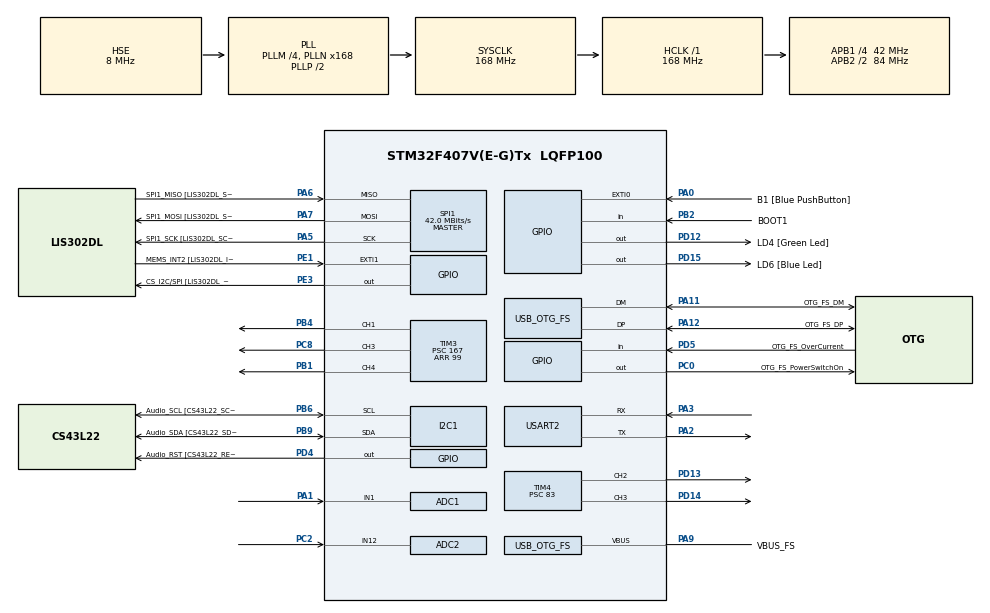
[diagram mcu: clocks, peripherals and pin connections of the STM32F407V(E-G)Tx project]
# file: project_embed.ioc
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ADC1.Channel-0\#ChannelRegularConversion=ADC_CHANNEL_1
ADC1.NbrOfConversionFlag=1
ADC1.Rank-0\#ChannelRegularConversion=1
ADC1.SamplingTime-0\#ChannelRegularConversion=ADC_SAMPLETIME_3CYCLES
ADC1.master=1
ADC2.Channel-1\#ChannelRegularConversion=ADC_CHANNEL_12
ADC2.NbrOfConversionFlag=1
ADC2.Rank-1\#ChannelRegularConversion=1
ADC2.SamplingTime-1\#ChannelRegularConversion=ADC_SAMPLETIME_3CYCLES
Mcu.Family=STM32F4
Mcu.Name=STM32F407V(E-G)Tx
Mcu.Package=LQFP100
NVIC.OTG_FS_IRQn=true\:0\:0\:false\:false\:true\:true\:true
NVIC.PriorityGroup=NVIC_PRIORITYGROUP_4
PA0-WKUP.GPIO_Label=B1 [Blue PushButton]
PA0-WKUP.GPIO_ModeDefaultEXTI=GPIO_MODE_EVT_RISING
PA0-WKUP.GPIO_PuPd=GPIO_NOPULL
PA0-WKUP.Signal=GPXTI0
PA1.Signal=ADCx_IN1
PA10.GPIO_Label=OTG_FS_ID
PA10.GPIO_Mode=GPIO_MODE_AF_PP
PA10.GPIO_PuPd=GPIO_NOPULL
PA10.GPIO_Speed=GPIO_SPEED_FREQ_LOW
PA10.Signal=USB_OTG_FS_ID
PA11.GPIO_Label=OTG_FS_DM
PA11.GPIO_Mode=GPIO_MODE_AF_PP
PA11.GPIO_PuPd=GPIO_NOPULL
PA11.GPIO_Speed=GPIO_SPEED_FREQ_LOW
PA11.Mode=Host_Only
PA11.Signal=USB_OTG_FS_DM
PA12.GPIO_Label=OTG_FS_DP
PA12.GPIO_Mode=GPIO_MODE_AF_PP
PA12.GPIO_PuPd=GPIO_NOPULL
PA12.GPIO_Speed=GPIO_SPEED_FREQ_LOW
PA12.Mode=Host_Only
PA12.Signal=USB_OTG_FS_DP
PA13.GPIO_Label=SWDIO
PA13.Mode=Serial_Wire
PA13.Signal=SYS_JTMS-SWDIO
PA14.GPIO_Label=SWCLK
PA14.Mode=Serial_Wire
PA14.Signal=SYS_JTCK-SWCLK
PA2.Mode=Asynchronous
PA2.Signal=USART2_TX
PA3.Mode=Asynchronous
PA3.Signal=USART2_RX
PA4.GPIO_Label=I2S3_WS [CS43L22_LRCK]
PA4.GPIO_Mode=GPIO_MODE_AF_PP
PA4.GPIO_PuPd=GPIO_NOPULL
PA4.GPIO_Speed=GPIO_SPEED_FREQ_LOW
PA4.Signal=I2S3_WS
PA5.GPIO_Label=SPI1_SCK [LIS302DL_SCL/SPC]
PA5.GPIO_Mode=GPIO_MODE_AF_PP
PA5.GPIO_PuPd=GPIO_NOPULL
PA5.GPIO_Speed=GPIO_SPEED_FREQ_LOW
PA5.Mode=Full_Duplex_Master
PA5.Signal=SPI1_SCK
PA6.GPIO_Label=SPI1_MISO [LIS302DL_SDO]
PA6.GPIO_Mode=GPIO_MODE_AF_PP
PA6.GPIO_PuPd=GPIO_NOPULL
PA6.GPIO_Speed=GPIO_SPEED_FREQ_LOW
PA6.Mode=Full_Duplex_Master
PA6.Signal=SPI1_MISO
PA7.GPIO_Label=SPI1_MOSI [LIS302DL_SDA/SDI/SDO]
PA7.GPIO_Mode=GPIO_MODE_AF_PP
PA7.GPIO_PuPd=GPIO_NOPULL
PA7.GPIO_Speed=GPIO_SPEED_FREQ_LOW
PA7.Mode=Full_Duplex_Master
PA7.Signal=SPI1_MOSI
PA9.GPIO_Label=VBUS_FS
PA9.GPIO_Mode=GPIO_MODE_INPUT
PA9.GPIO_PuPd=GPIO_NOPULL
PA9.Mode=Activate_VBUS
PA9.Signal=USB_OTG_FS_VBUS
PB1.Signal=S_TIM3_CH4
PB10.GPIO_Label=CLK_IN [MP45DT02_CLK]
PB10.GPIO_Mode=GPIO_MODE_AF_PP
PB10.GPIO_PuPd=GPIO_NOPULL
PB10.GPIO_Speed=GPIO_SPEED_FREQ_LOW
PB10.Signal=I2S2_CK
PB2.GPIO_Label=BOOT1
PB2.GPIO_Mode=GPIO_MODE_INPUT
PB2.GPIO_PuPd=GPIO_NOPULL
PB2.Signal=GPIO_Input
PB3.GPIO_Label=SWO
PB3.Signal=SYS_JTDO-SWO
PB4.Signal=S_TIM3_CH1
PB6.GPIO_Label=Audio_SCL [CS43L22_SCL]
PB6.GPIO_Mode=GPIO_MODE_AF_OD
PB6.GPIO_PuPd=GPIO_NOPULL
PB6.GPIO_Speed=GPIO_SPEED_FREQ_LOW
PB6.Mode=I2C
PB6.Signal=I2C1_SCL
PB9.GPIO_Label=Audio_SDA [CS43L22_SDA]
PB9.GPIO_Mode=GPIO_MODE_AF_OD
PB9.GPIO_PuPd=GPIO_NOPULL
PB9.GPIO_Speed=GPIO_SPEED_FREQ_LOW
PB9.Mode=I2C
PB9.Signal=I2C1_SDA
PC0.GPIO_Label=OTG_FS_PowerSwitchOn
PC0.GPIO_PuPd=GPIO_NOPULL
PC0.GPIO_Speed=GPIO_SPEED_FREQ_LOW
PC0.PinState=GPIO_PIN_SET
PC0.Signal=GPIO_Output
PC10.GPIO_Label=I2S3_SCK [CS43L22_SCLK]
PC10.GPIO_Mode=GPIO_MODE_AF_PP
PC10.GPIO_PuPd=GPIO_NOPULL
PC10.GPIO_Speed=GPIO_SPEED_FREQ_LOW
PC10.Signal=I2S3_CK
PC12.GPIO_Label=I2S3_SD [CS43L22_SDIN]
PC12.GPIO_Mode=GPIO_MODE_AF_PP
PC12.GPIO_PuPd=GPIO_NOPULL
PC12.GPIO_Speed=GPIO_SPEED_FREQ_LOW
PC12.Signal=I2S3_SD
PC14-OSC32_IN.GPIO_Label=PC14-OSC32_IN
PC14-OSC32_IN.Mode=LSE-External-Oscillator
PC14-OSC32_IN.Signal=RCC_OSC32_IN
PC15-OSC32_OUT.GPIO_Label=PC15-OSC32_OUT
PC15-OSC32_OUT.Mode=LSE-External-Oscillator
PC15-OSC32_OUT.Signal=RCC_OSC32_OUT
PC2.Signal=ADCx_IN12
PC3.GPIO_Label=PDM_OUT [MP45DT02_DOUT]
PC3.GPIO_Mode=GPIO_MODE_AF_PP
PC3.GPIO_PuPd=GPIO_NOPULL
PC3.GPIO_Speed=GPIO_SPEED_FREQ_LOW
PC3.Signal=I2S2_SD
PC7.GPIO_Label=I2S3_MCK [CS43L22_MCLK]
PC7.GPIO_Mode=GPIO_MODE_AF_PP
PC7.GPIO_PuPd=GPIO_NOPULL
PC7.GPIO_Speed=GPIO_SPEED_FREQ_LOW
PC7.Signal=I2S3_MCK
PC8.Signal=S_TIM3_CH3
PD12.GPIO_Label=LD4 [Green Led]
PD12.GPIO_PuPd=GPIO_NOPULL
PD12.GPIO_Speed=GPIO_SPEED_FREQ_LOW
PD12.Signal=GPIO_Output
PD13.Signal=S_TIM4_CH2
PD14.Signal=S_TIM4_CH3
PD15.GPIO_Label=LD6 [Blue Led]
PD15.GPIO_PuPd=GPIO_NOPULL
PD15.GPIO_Speed=GPIO_SPEED_FREQ_LOW
PD15.Signal=GPIO_Output
PD4.GPIO_Label=Audio_RST [CS43L22_RESET]
PD4.GPIO_PuPd=GPIO_NOPULL
PD4.GPIO_Speed=GPIO_SPEED_FREQ_LOW
PD4.Signal=GPIO_Output
PD5.GPIO_Label=OTG_FS_OverCurrent
PD5.GPIO_Mode=GPIO_MODE_INPUT
PD5.GPIO_PuPd=GPIO_NOPULL
PD5.Signal=GPIO_Input
PE1.GPIO_Label=MEMS_INT2 [LIS302DL_INT2]
PE1.GPIO_ModeDefaultEXTI=GPIO_MODE_EVT_RISING
PE1.GPIO_PuPd=GPIO_NOPULL
PE1.Signal=GPXTI1
PE3.GPIO_Label=CS_I2C/SPI [LIS302DL_CS_I2C/SPI]
PE3.GPIO_PuPd=GPIO_NOPULL
PE3.GPIO_Speed=GPIO_SPEED_FREQ_LOW
PE3.Signal=GPIO_Output
PH0-OSC_IN.GPIO_Label=PH0-OSC_IN
PH0-OSC_IN.Mode=HSE-External-Oscillator
PH0-OSC_IN.Signal=RCC_OSC_IN
PH1-OSC_OUT.GPIO_Label=PH1-OSC_OUT
PH1-OSC_OUT.Mode=HSE-External-Oscillator
PH1-OSC_OUT.Signal=RCC_OSC_OUT
ProjectManager.HeapSize=0x200
ProjectManager.StackSize=0x400
ProjectManager.TargetToolchain=STM32CubeIDE
RCC.48MHZClocksFreq_Value=48000000
RCC.AHBFreq_Value=168000000
RCC.APB1CLKDivider=RCC_HCLK_DIV4
RCC.APB1Freq_Value=42000000
RCC.APB1TimFreq_Value=84000000
RCC.APB2CLKDivider=RCC_HCLK_DIV2
RCC.APB2Freq_Value=84000000
RCC.APB2TimFreq_Value=168000000
RCC.CortexFreq_Value=168000000
RCC.HCLKFreq_Value=168000000
RCC.HSE_VALUE=8000000
RCC.HSI_VALUE=16000000
RCC.PLLI2SN=50
RCC.PLLM=4
RCC.PLLN=168
RCC.PLLQ=7
RCC.SYSCLKFreq_VALUE=168000000
RCC.SYSCLKSource=RCC_SYSCLKSOURCE_PLLCLK
RCC.VCOOutputFreq_Value=336000000
SH.ADCx_IN1.0=ADC1_IN1,IN1
SH.ADCx_IN12.0=ADC2_IN12,IN12
SH.S_TIM3_CH1.0=TIM3_CH1,PWM Generation1 CH1
SH.S_TIM3_CH3.0=TIM3_CH3,PWM Generation3 CH3
SH.S_TIM3_CH4.0=TIM3_CH4,PWM Generation4 CH4
SH.S_TIM4_CH2.0=TIM4_CH2,PWM Generation2 CH2
SH.S_TIM4_CH3.0=TIM4_CH3,PWM Generation3 CH3
SPI1.BaudRatePrescaler-Full_Duplex_Master=SPI_BAUDRATEPRESCALER_2
SPI1.CalculateBaudRate=42.0 MBits/s
SPI1.CalculateBaudRate-Full_Duplex_Master=42.0 MBits/s
SPI1.Direction=SPI_DIRECTION_2LINES
SPI1.Mode=SPI_MODE_MASTER
SPI1.Mode-Full_Duplex_Master=SPI_MODE_MASTER
SPI1.VirtualType=VM_MASTER
TIM3.AutoReloadPreload=TIM_AUTORELOAD_PRELOAD_ENABLE
TIM3.Channel-PWM\ Generation1\ CH1=TIM_CHANNEL_1
TIM3.Channel-PWM\ Generation3\ CH3=TIM_CHANNEL_3
TIM3.Channel-PWM\ Generation4\ CH4=TIM_CHANNEL_4
TIM3.Period=99
TIM3.Prescaler=167
TIM4.Channel-PWM\ Generation2\ CH2=TIM_CHANNEL_2
TIM4.Channel-PWM\ Generation3\ CH3=TIM_CHANNEL_3
TIM4.Period=99
TIM4.Prescaler=83
TIM4.Pulse-PWM\ Generation2\ CH2=50
TIM4.Pulse-PWM\ Generation3\ CH3=50
USART2.VirtualMode=VM_ASYNC
USB_HOST.BSP.number=1
USB_HOST.USBH_HandleTypeDef-CDC_FS=hUsbHostFS
USB_HOST.USBH_USE_OS-CDC_FS=0
USB_HOST.VirtualModeFS=Cdc
USB_HOST0.BSP.STBoard=false
USB_HOST0.BSP.api=Unknown
USB_HOST0.BSP.i2caddr=0
USB_HOST0.BSP.i2creg=0
USB_HOST0.BSP.instance=PC0
USB_HOST0.BSP.ip=GPIO
USB_HOST0.BSP.mode=Output
USB_HOST0.BSP.name=Drive_VBUS_FS
USB_HOST0.BSP.solution=PC0
USB_OTG_FS.VirtualMode=Host_Only
USB_OTG_FS.phy_itface=HCD_PHY_EMBEDDED
VP_TIM1_VS_ClockSourceINT.Mode=Internal
VP_TIM3_VS_ClockSourceINT.Mode=Internal
VP_USB_HOST_VS_USB_HOST_CDC_FS.Mode=CDC_FS
board=STM32F407G-DISC1

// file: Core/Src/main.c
/* USER CODE BEGIN Header */
/**
  ******************************************************************************
  * @file           : main.c
  * @brief          : Main program body
  ******************************************************************************
  * @attention
  *
  * <h2><center>&copy; Copyright (c) 2019 STMicroelectronics.
  * All rights reserved.</center></h2>
  *
  * This software component is licensed by ST under Ultimate Liberty license
  * SLA0044, the "License"; You may not use this file except in compliance with
  * the License. You may obtain a copy of the License at:
  *                             www.st.com/SLA0044
  *
  ******************************************************************************
  */
/* USER CODE END Header */

#include "main.h"
#include "usb_host.h"

/* USER CODE BEGIN Includes */
#include "stm32fxxx_hal.h"
//#include "stm32f1xx_hal.h"
//#include "tim.h"
//#include "gpio.h"
//#include "defines.h"
#include "tm_stm32_disco.h"
#include "tm_stm32_delay.h"
#include "tm_stm32_ds18b20.h"
#include "tm_stm32_onewire.h"

/* USER CODE END Includes */

ADC_HandleTypeDef hadc1;
ADC_HandleTypeDef hadc2;

I2C_HandleTypeDef hi2c1;

SPI_HandleTypeDef hspi1;

TIM_HandleTypeDef htim1;
TIM_HandleTypeDef htim3;
TIM_HandleTypeDef htim4;

UART_HandleTypeDef huart2;

/* USER CODE BEGIN PV */
TM_OneWire_t OW;
uint8_t DS_ROM[8];

TM_OneWire_t OW2;
uint8_t DS_ROM2[8];

float temp;
float temp2;

int r,p,t,t2;

int mode = 1;
char rec;
int current_pump = 50;
int current_rotate = 50;
int current_desired_temp = 25;

char buf[16];

/* USER CODE END PV */

void SystemClock_Config(void);
static void MX_GPIO_Init(void);
static void MX_I2C1_Init(void);
static void MX_SPI1_Init(void);
static void MX_TIM1_Init(void);
static void MX_TIM3_Init(void);
static void MX_USART2_UART_Init(void);
static void MX_ADC1_Init(void);
static void MX_ADC2_Init(void);
static void MX_TIM4_Init(void);
void MX_USB_HOST_Process(void);

/* USER CODE BEGIN 0 */
//void delay(uint32_t us) {
//	__HAL_TIM_SetCounter(&htim1,0);
//	while ((__HAL_TIM_GET_COUNTER(&htim1))<us);
//}

double accumError = 0;
double pid(double setpoint, double current){
	double Kp = -2.5;
	double Ki = -1;
	double Kd = -1;

	double error = setpoint - current;

	double P = Kp * error;

	accumError += error;
	double I = Ki * accumError;

	static double lastError = 0;
	double errorDiff = error - lastError;
	lastError = error;
	double D = Kd * errorDiff;

	return P+ I;// + D;
}

void SystemClock_Config(void);
/* USER CODE END 0 */

int main(void)
{
  /* USER CODE BEGIN 1 */
//	TM_RCC_InitSystem();
  /* USER CODE END 1 */

  /* MCU Configuration--------------------------------------------------------*/

  /* Reset of all peripherals, Initializes the Flash interface and the Systick. */
  HAL_Init();

  /* Configure the system clock */
  SystemClock_Config();

  /* USER CODE BEGIN SysInit */
//  TM_DISCO_LedInit();

  /* USER CODE END SysInit */

  /* Initialize all configured peripherals */
  MX_GPIO_Init();
  MX_I2C1_Init();
  MX_SPI1_Init();
  MX_USB_HOST_Init();
  MX_TIM1_Init();
  MX_TIM3_Init();
  MX_USART2_UART_Init();
  MX_ADC1_Init();
  MX_ADC2_Init();
  MX_TIM4_Init();
  /* USER CODE BEGIN 2 */
  HAL_GPIO_WritePin(GPIOB, GPIO_PIN_4, GPIO_PIN_SET);
  HAL_GPIO_WritePin(GPIOB, GPIO_PIN_5, GPIO_PIN_RESET);
  HAL_GPIO_WritePin(GPIOC, GPIO_PIN_8, GPIO_PIN_SET);
  HAL_GPIO_WritePin(GPIOC, GPIO_PIN_9, GPIO_PIN_RESET);

  HAL_TIM_Base_Start(&htim3);
  HAL_TIM_Base_Start(&htim4);

  HAL_TIM_PWM_Start(&htim3, TIM_CHANNEL_1);
  HAL_TIM_PWM_Start(&htim3, TIM_CHANNEL_3);
  HAL_TIM_PWM_Start(&htim4, TIM_CHANNEL_2);
  HAL_TIM_PWM_Start(&htim4, TIM_CHANNEL_3);

//  TM_OneWire_Init(&OW, GPIOB, GPIO_PIN_4); /////////////////////////////
//  TM_OneWire_Init(&OW2, GPIOB, GPIO_PIN_5);
//
//  if (TM_OneWire_First(&OW) && TM_OneWire_First(&OW2)) {
//          /* Set LED GREEN */
//          TM_DISCO_LedOn(LED_GREEN);
//
//          /* Read ROM number */
//          TM_OneWire_GetFullROM(&OW, DS_ROM);
//          TM_OneWire_GetFullROM(&OW2, DS_ROM2);
//     } else {
//          /* Set LED RED */
//          TM_DISCO_LedOn(LED_RED);
//     }
//  if (TM_DS18B20_Is(DS_ROM)) {
//          /* Set resolution */
//          TM_DS18B20_SetResolution(&OW, DS_ROM, TM_DS18B20_Resolution_12bits);
//          TM_DS18B20_SetResolution(&OW2, DS_ROM2, TM_DS18B20_Resolution_12bits);
//
//
//
//          /* Start conversion on all sensors */
//          TM_DS18B20_StartAll(&OW);
//          TM_DS18B20_StartAll(&OW2);
//      }
  double min = 0;
  double max = 4095;
  /* USER CODE END 2 */

  /* Infinite loop */
  while (1)
  {
    MX_USB_HOST_Process();

    /* USER CODE BEGIN 3 */
//    if (TM_DS18B20_Is(DS_ROM)) {
//    	/* Everything is done */
//    	if (TM_DS18B20_AllDone(&OW)) {
//    		/* Read temperature from device */
//    		if (TM_DS18B20_Read(&OW, DS_ROM, &temp)) {
//    			/* Temp read OK, CRC is OK */
//    			/* Start again on all sensors */
//    			TM_DS18B20_StartAll(&OW);
//    		} else {
//    			/* CRC failed, hardware problems on data line */
//    		}
//    	}
//    }
//
//    if (TM_DS18B20_Is(DS_ROM2)) {
//    	if (TM_DS18B20_AllDone(&OW2)) {
//    		if (TM_DS18B20_Read(&OW2, DS_ROM2, &temp2)){
//    			TM_DS18B20_StartAll(&OW2);
//    		}
//    	}
//    }
    int t = (int) temp;
    int t2 = (int) temp2;
    //////////////////////////////////Receive///////////////////////////////
    HAL_UART_Receive(&huart2, buf, 4, 1000);
    if (buf[1] == 't') {
    	char TEMP[2];
    	TEMP[0] = buf[2];
    	TEMP[1] = buf[3]; ///////////////////////////////////////////////
    	int t;
    	t = ((buf[2] - '0') * 10) + (buf[3] - '0');
//    	sscanf(TEMP, '%d', &t);
    	if (mode == 1) {
    		if (current_desired_temp != t) accumError = 0;
    		current_desired_temp = t;
    	}

    }else if(buf[1] == 'r') {
    	char ROTATE[2];
    	ROTATE[0] = buf[2];
    	ROTATE[1] = buf[3];
    	int r;
    	r =  ((buf[2] - '0') * 10) + (buf[3] - '0');
//    	sscanf(ROTATE, '%d', &r);
    	if (mode == 2) {
    		current_rotate = r;

    	}
    }else if(buf[1] == 'p') {
    	char PUMP[2];
    	PUMP[0] = buf[2];
    	PUMP[1] = buf[3];
    	int p;
    	p = ((buf[2] - '0') * 10) + (buf[3] - '0');
//    	sscanf(PUMP, '%d', &p);
    	if (mode == 2) {
    		current_pump = p;

    	}
    }else if(buf[1] == 'M'){
    	if (mode == 1) {
    		mode = 2;
    	} else {
    		mode = 1;
    	}
    }
    else if (buf[1] == 'm') {
    	if(mode == 1) {
    		mode = 3;
    	} else if (mode == 3) {
    		mode = 1;
    	} else if (mode == 2) {
    		mode = 4;
    	} else if (mode == 4) {
    		mode = 2;
    	}
    }
    ///////////////////////////////ADC//////////////////
    HAL_ADC_Start(&hadc1);
    double val = HAL_ADC_GetValue(&hadc1);
    t = (int) (val / max * 100.0);
    HAL_ADC_Start(&hadc2);
    val = HAL_ADC_GetValue(&hadc2);
    t2 = (int) (val / max * 100.0);

    /////////////////////////////////////////PWM/////////////////////////////

    if (mode == 1) {
    	double cr  = pid(current_desired_temp, t2);
    	current_rotate = (int)cr;
    	current_rotate = (current_rotate > 99) ? 99 : current_rotate;
    	current_rotate = (current_rotate < 10) ? 10 : current_rotate;
        TIM4->CCR2 = current_rotate;
        current_pump = 75;
        TIM4->CCR3 = current_pump;
    } else {
        TIM4->CCR2 = current_rotate;
        TIM4->CCR3 = current_pump;
    }

  ///////////////////////////////////BUTTON/////////////////////////////////
  if (1) {

  }

  ///////////////////////////////////PWM////////////////////////////////////
//  if (buf[1] == 'r') {
//	  setPWM(htim3, TIM_CHANNEL_1, 100, r);
//	  current_rotate = r;
//  }else if (buf[1] == 'p') {
//	  setPWM(htim3, TIM_CHANNEL_3, 100, p);
//	  current_pump = p;
//  }

  ///////////////////////////////////TRANSMIT/////////////////////////////////
  char buffer[16];
  sprintf(buffer, "%d.%d.%d.%d.%d.", mode,t,t2,current_rotate, current_pump);
  HAL_UART_Transmit(&huart2, buffer,strlen(buffer), 1000);
  }
  /* USER CODE END 3 */
}

void SystemClock_Config(void)
{
  RCC_OscInitTypeDef RCC_OscInitStruct = {0};
  RCC_ClkInitTypeDef RCC_ClkInitStruct = {0};

  /** Configure the main internal regulator output voltage
  */
  __HAL_RCC_PWR_CLK_ENABLE();
  __HAL_PWR_VOLTAGESCALING_CONFIG(PWR_REGULATOR_VOLTAGE_SCALE1);
  /** Initializes the CPU, AHB and APB busses clocks
  */
  RCC_OscInitStruct.OscillatorType = RCC_OSCILLATORTYPE_HSE;
  RCC_OscInitStruct.HSEState = RCC_HSE_ON;
  RCC_OscInitStruct.PLL.PLLState = RCC_PLL_ON;
  RCC_OscInitStruct.PLL.PLLSource = RCC_PLLSOURCE_HSE;
  RCC_OscInitStruct.PLL.PLLM = 4;
  RCC_OscInitStruct.PLL.PLLN = 168;
  RCC_OscInitStruct.PLL.PLLP = RCC_PLLP_DIV2;
  RCC_OscInitStruct.PLL.PLLQ = 7;
  if (HAL_RCC_OscConfig(&RCC_OscInitStruct) != HAL_OK)
  {
    Error_Handler();
  }
  /** Initializes the CPU, AHB and APB busses clocks
  */
  RCC_ClkInitStruct.ClockType = RCC_CLOCKTYPE_HCLK|RCC_CLOCKTYPE_SYSCLK
                              |RCC_CLOCKTYPE_PCLK1|RCC_CLOCKTYPE_PCLK2;
  RCC_ClkInitStruct.SYSCLKSource = RCC_SYSCLKSOURCE_PLLCLK;
  RCC_ClkInitStruct.AHBCLKDivider = RCC_SYSCLK_DIV1;
  RCC_ClkInitStruct.APB1CLKDivider = RCC_HCLK_DIV4;
  RCC_ClkInitStruct.APB2CLKDivider = RCC_HCLK_DIV2;

  if (HAL_RCC_ClockConfig(&RCC_ClkInitStruct, FLASH_LATENCY_5) != HAL_OK)
  {
    Error_Handler();
  }
}

static void MX_ADC1_Init(void)
{

  ADC_ChannelConfTypeDef sConfig = {0};

  /** Configure the global features of the ADC (Clock, Resolution, Data Alignment and number of conversion)
  */
  hadc1.Instance = ADC1;
  hadc1.Init.ClockPrescaler = ADC_CLOCK_SYNC_PCLK_DIV4;
  hadc1.Init.Resolution = ADC_RESOLUTION_12B;
  hadc1.Init.ScanConvMode = DISABLE;
  hadc1.Init.ContinuousConvMode = DISABLE;
  hadc1.Init.DiscontinuousConvMode = DISABLE;
  hadc1.Init.ExternalTrigConvEdge = ADC_EXTERNALTRIGCONVEDGE_NONE;
  hadc1.Init.ExternalTrigConv = ADC_SOFTWARE_START;
  hadc1.Init.DataAlign = ADC_DATAALIGN_RIGHT;
  hadc1.Init.NbrOfConversion = 1;
  hadc1.Init.DMAContinuousRequests = DISABLE;
  hadc1.Init.EOCSelection = ADC_EOC_SINGLE_CONV;
  if (HAL_ADC_Init(&hadc1) != HAL_OK)
  {
    Error_Handler();
  }
  /** Configure for the selected ADC regular channel its corresponding rank in the sequencer and its sample time.
  */
  sConfig.Channel = ADC_CHANNEL_1;
  sConfig.Rank = 1;
  sConfig.SamplingTime = ADC_SAMPLETIME_3CYCLES;
  if (HAL_ADC_ConfigChannel(&hadc1, &sConfig) != HAL_OK)
  {
    Error_Handler();
  }

}

static void MX_ADC2_Init(void)
{

  ADC_ChannelConfTypeDef sConfig = {0};

  /** Configure the global features of the ADC (Clock, Resolution, Data Alignment and number of conversion)
  */
  hadc2.Instance = ADC2;
  hadc2.Init.ClockPrescaler = ADC_CLOCK_SYNC_PCLK_DIV4;
  hadc2.Init.Resolution = ADC_RESOLUTION_12B;
  hadc2.Init.ScanConvMode = DISABLE;
  hadc2.Init.ContinuousConvMode = DISABLE;
  hadc2.Init.DiscontinuousConvMode = DISABLE;
  hadc2.Init.ExternalTrigConvEdge = ADC_EXTERNALTRIGCONVEDGE_NONE;
  hadc2.Init.ExternalTrigConv = ADC_SOFTWARE_START;
  hadc2.Init.DataAlign = ADC_DATAALIGN_RIGHT;
  hadc2.Init.NbrOfConversion = 1;
  hadc2.Init.DMAContinuousRequests = DISABLE;
  hadc2.Init.EOCSelection = ADC_EOC_SINGLE_CONV;
  if (HAL_ADC_Init(&hadc2) != HAL_OK)
  {
    Error_Handler();
  }
  /** Configure for the selected ADC regular channel its corresponding rank in the sequencer and its sample time.
  */
  sConfig.Channel = ADC_CHANNEL_12;
  sConfig.Rank = 1;
  sConfig.SamplingTime = ADC_SAMPLETIME_3CYCLES;
  if (HAL_ADC_ConfigChannel(&hadc2, &sConfig) != HAL_OK)
  {
    Error_Handler();
  }

}

static void MX_I2C1_Init(void)
{

  hi2c1.Instance = I2C1;
  hi2c1.Init.ClockSpeed = 100000;
  hi2c1.Init.DutyCycle = I2C_DUTYCYCLE_2;
  hi2c1.Init.OwnAddress1 = 0;
  hi2c1.Init.AddressingMode = I2C_ADDRESSINGMODE_7BIT;
  hi2c1.Init.DualAddressMode = I2C_DUALADDRESS_DISABLE;
  hi2c1.Init.OwnAddress2 = 0;
  hi2c1.Init.GeneralCallMode = I2C_GENERALCALL_DISABLE;
  hi2c1.Init.NoStretchMode = I2C_NOSTRETCH_DISABLE;
  if (HAL_I2C_Init(&hi2c1) != HAL_OK)
  {
    Error_Handler();
  }

}

static void MX_SPI1_Init(void)
{

  /* SPI1 parameter configuration*/
  hspi1.Instance = SPI1;
  hspi1.Init.Mode = SPI_MODE_MASTER;
  hspi1.Init.Direction = SPI_DIRECTION_2LINES;
  hspi1.Init.DataSize = SPI_DATASIZE_8BIT;
  hspi1.Init.CLKPolarity = SPI_POLARITY_LOW;
  hspi1.Init.CLKPhase = SPI_PHASE_1EDGE;
  hspi1.Init.NSS = SPI_NSS_SOFT;
  hspi1.Init.BaudRatePrescaler = SPI_BAUDRATEPRESCALER_2;
  hspi1.Init.FirstBit = SPI_FIRSTBIT_MSB;
  hspi1.Init.TIMode = SPI_TIMODE_DISABLE;
  hspi1.Init.CRCCalculation = SPI_CRCCALCULATION_DISABLE;
  hspi1.Init.CRCPolynomial = 10;
  if (HAL_SPI_Init(&hspi1) != HAL_OK)
  {
    Error_Handler();
  }

}

static void MX_TIM1_Init(void)
{

  TIM_ClockConfigTypeDef sClockSourceConfig = {0};
  TIM_MasterConfigTypeDef sMasterConfig = {0};

  htim1.Instance = TIM1;
  htim1.Init.Prescaler = 0;
  htim1.Init.CounterMode = TIM_COUNTERMODE_UP;
  htim1.Init.Period = 0;
  htim1.Init.ClockDivision = TIM_CLOCKDIVISION_DIV1;
  htim1.Init.RepetitionCounter = 0;
  htim1.Init.AutoReloadPreload = TIM_AUTORELOAD_PRELOAD_DISABLE;
  if (HAL_TIM_Base_Init(&htim1) != HAL_OK)
  {
    Error_Handler();
  }
  sClockSourceConfig.ClockSource = TIM_CLOCKSOURCE_INTERNAL;
  if (HAL_TIM_ConfigClockSource(&htim1, &sClockSourceConfig) != HAL_OK)
  {
    Error_Handler();
  }
  sMasterConfig.MasterOutputTrigger = TIM_TRGO_RESET;
  sMasterConfig.MasterSlaveMode = TIM_MASTERSLAVEMODE_DISABLE;
  if (HAL_TIMEx_MasterConfigSynchronization(&htim1, &sMasterConfig) != HAL_OK)
  {
    Error_Handler();
  }

}

static void MX_TIM3_Init(void)
{

  TIM_ClockConfigTypeDef sClockSourceConfig = {0};
  TIM_MasterConfigTypeDef sMasterConfig = {0};
  TIM_OC_InitTypeDef sConfigOC = {0};

  htim3.Instance = TIM3;
  htim3.Init.Prescaler = 167;
  htim3.Init.CounterMode = TIM_COUNTERMODE_UP;
  htim3.Init.Period = 99;
  htim3.Init.ClockDivision = TIM_CLOCKDIVISION_DIV1;
  htim3.Init.AutoReloadPreload = TIM_AUTORELOAD_PRELOAD_ENABLE;
  if (HAL_TIM_Base_Init(&htim3) != HAL_OK)
  {
    Error_Handler();
  }
  sClockSourceConfig.ClockSource = TIM_CLOCKSOURCE_INTERNAL;
  if (HAL_TIM_ConfigClockSource(&htim3, &sClockSourceConfig) != HAL_OK)
  {
    Error_Handler();
  }
  if (HAL_TIM_PWM_Init(&htim3) != HAL_OK)
  {
    Error_Handler();
  }
  sMasterConfig.MasterOutputTrigger = TIM_TRGO_RESET;
  sMasterConfig.MasterSlaveMode = TIM_MASTERSLAVEMODE_DISABLE;
  if (HAL_TIMEx_MasterConfigSynchronization(&htim3, &sMasterConfig) != HAL_OK)
  {
    Error_Handler();
  }
  sConfigOC.OCMode = TIM_OCMODE_PWM1;
  sConfigOC.Pulse = 0;
  sConfigOC.OCPolarity = TIM_OCPOLARITY_HIGH;
  sConfigOC.OCFastMode = TIM_OCFAST_DISABLE;
  if (HAL_TIM_PWM_ConfigChannel(&htim3, &sConfigOC, TIM_CHANNEL_1) != HAL_OK)
  {
    Error_Handler();
  }
  if (HAL_TIM_PWM_ConfigChannel(&htim3, &sConfigOC, TIM_CHANNEL_3) != HAL_OK)
  {
    Error_Handler();
  }
  if (HAL_TIM_PWM_ConfigChannel(&htim3, &sConfigOC, TIM_CHANNEL_4) != HAL_OK)
  {
    Error_Handler();
  }
  HAL_TIM_MspPostInit(&htim3);

}

static void MX_TIM4_Init(void)
{

  TIM_MasterConfigTypeDef sMasterConfig = {0};
  TIM_OC_InitTypeDef sConfigOC = {0};

  htim4.Instance = TIM4;
  htim4.Init.Prescaler = 83;
  htim4.Init.CounterMode = TIM_COUNTERMODE_UP;
  htim4.Init.Period = 99;
  htim4.Init.ClockDivision = TIM_CLOCKDIVISION_DIV1;
  htim4.Init.AutoReloadPreload = TIM_AUTORELOAD_PRELOAD_DISABLE;
  if (HAL_TIM_PWM_Init(&htim4) != HAL_OK)
  {
    Error_Handler();
  }
  sMasterConfig.MasterOutputTrigger = TIM_TRGO_RESET;
  sMasterConfig.MasterSlaveMode = TIM_MASTERSLAVEMODE_DISABLE;
  if (HAL_TIMEx_MasterConfigSynchronization(&htim4, &sMasterConfig) != HAL_OK)
  {
    Error_Handler();
  }
  sConfigOC.OCMode = TIM_OCMODE_PWM1;
  sConfigOC.Pulse = 50;
  sConfigOC.OCPolarity = TIM_OCPOLARITY_HIGH;
  sConfigOC.OCFastMode = TIM_OCFAST_DISABLE;
  if (HAL_TIM_PWM_ConfigChannel(&htim4, &sConfigOC, TIM_CHANNEL_2) != HAL_OK)
  {
    Error_Handler();
  }
  if (HAL_TIM_PWM_ConfigChannel(&htim4, &sConfigOC, TIM_CHANNEL_3) != HAL_OK)
  {
    Error_Handler();
  }
  HAL_TIM_MspPostInit(&htim4);

}

static void MX_USART2_UART_Init(void)
{

  huart2.Instance = USART2;
  huart2.Init.BaudRate = 115200;
  huart2.Init.WordLength = UART_WORDLENGTH_8B;
  huart2.Init.StopBits = UART_STOPBITS_1;
  huart2.Init.Parity = UART_PARITY_NONE;
  huart2.Init.Mode = UART_MODE_TX_RX;
  huart2.Init.HwFlowCtl = UART_HWCONTROL_NONE;
  huart2.Init.OverSampling = UART_OVERSAMPLING_16;
  if (HAL_UART_Init(&huart2) != HAL_OK)
  {
    Error_Handler();
  }

}

static void MX_GPIO_Init(void)
{
  GPIO_InitTypeDef GPIO_InitStruct = {0};

  /* GPIO Ports Clock Enable */
  __HAL_RCC_GPIOE_CLK_ENABLE();
  __HAL_RCC_GPIOC_CLK_ENABLE();
  __HAL_RCC_GPIOH_CLK_ENABLE();
  __HAL_RCC_GPIOA_CLK_ENABLE();
  __HAL_RCC_GPIOB_CLK_ENABLE();
  __HAL_RCC_GPIOD_CLK_ENABLE();

  /*Configure GPIO pin Output Level */
  HAL_GPIO_WritePin(CS_I2C_SPI_GPIO_Port, CS_I2C_SPI_Pin, GPIO_PIN_RESET);

  /*Configure GPIO pin Output Level */
  HAL_GPIO_WritePin(OTG_FS_PowerSwitchOn_GPIO_Port, OTG_FS_PowerSwitchOn_Pin, GPIO_PIN_SET);

  /*Configure GPIO pin Output Level */
  HAL_GPIO_WritePin(GPIOD, LD4_Pin|LD6_Pin|Audio_RST_Pin, GPIO_PIN_RESET);

  /*Configure GPIO pin : CS_I2C_SPI_Pin */
  GPIO_InitStruct.Pin = CS_I2C_SPI_Pin;
  GPIO_InitStruct.Mode = GPIO_MODE_OUTPUT_PP;
  GPIO_InitStruct.Pull = GPIO_NOPULL;
  GPIO_InitStruct.Speed = GPIO_SPEED_FREQ_LOW;
  HAL_GPIO_Init(CS_I2C_SPI_GPIO_Port, &GPIO_InitStruct);

  /*Configure GPIO pin : OTG_FS_PowerSwitchOn_Pin */
  GPIO_InitStruct.Pin = OTG_FS_PowerSwitchOn_Pin;
  GPIO_InitStruct.Mode = GPIO_MODE_OUTPUT_PP;
  GPIO_InitStruct.Pull = GPIO_NOPULL;
  GPIO_InitStruct.Speed = GPIO_SPEED_FREQ_LOW;
  HAL_GPIO_Init(OTG_FS_PowerSwitchOn_GPIO_Port, &GPIO_InitStruct);

  /*Configure GPIO pin : PDM_OUT_Pin */
  GPIO_InitStruct.Pin = PDM_OUT_Pin;
  GPIO_InitStruct.Mode = GPIO_MODE_AF_PP;
  GPIO_InitStruct.Pull = GPIO_NOPULL;
  GPIO_InitStruct.Speed = GPIO_SPEED_FREQ_LOW;
  GPIO_InitStruct.Alternate = GPIO_AF5_SPI2;
  HAL_GPIO_Init(PDM_OUT_GPIO_Port, &GPIO_InitStruct);

  /*Configure GPIO pin : B1_Pin */
  GPIO_InitStruct.Pin = B1_Pin;
  GPIO_InitStruct.Mode = GPIO_MODE_EVT_RISING;
  GPIO_InitStruct.Pull = GPIO_NOPULL;
  HAL_GPIO_Init(B1_GPIO_Port, &GPIO_InitStruct);

  /*Configure GPIO pin : I2S3_WS_Pin */
  GPIO_InitStruct.Pin = I2S3_WS_Pin;
  GPIO_InitStruct.Mode = GPIO_MODE_AF_PP;
  GPIO_InitStruct.Pull = GPIO_NOPULL;
  GPIO_InitStruct.Speed = GPIO_SPEED_FREQ_LOW;
  GPIO_InitStruct.Alternate = GPIO_AF6_SPI3;
  HAL_GPIO_Init(I2S3_WS_GPIO_Port, &GPIO_InitStruct);

  /*Configure GPIO pin : BOOT1_Pin */
  GPIO_InitStruct.Pin = BOOT1_Pin;
  GPIO_InitStruct.Mode = GPIO_MODE_INPUT;
  GPIO_InitStruct.Pull = GPIO_NOPULL;
  HAL_GPIO_Init(BOOT1_GPIO_Port, &GPIO_InitStruct);

  /*Configure GPIO pin : CLK_IN_Pin */
  GPIO_InitStruct.Pin = CLK_IN_Pin;
  GPIO_InitStruct.Mode = GPIO_MODE_AF_PP;
  GPIO_InitStruct.Pull = GPIO_NOPULL;
  GPIO_InitStruct.Speed = GPIO_SPEED_FREQ_LOW;
  GPIO_InitStruct.Alternate = GPIO_AF5_SPI2;
  HAL_GPIO_Init(CLK_IN_GPIO_Port, &GPIO_InitStruct);

  /*Configure GPIO pins : LD4_Pin LD6_Pin Audio_RST_Pin */
  GPIO_InitStruct.Pin = LD4_Pin|LD6_Pin|Audio_RST_Pin;
  GPIO_InitStruct.Mode = GPIO_MODE_OUTPUT_PP;
  GPIO_InitStruct.Pull = GPIO_NOPULL;
  GPIO_InitStruct.Speed = GPIO_SPEED_FREQ_LOW;
  HAL_GPIO_Init(GPIOD, &GPIO_InitStruct);

  /*Configure GPIO pins : I2S3_MCK_Pin I2S3_SCK_Pin I2S3_SD_Pin */
  GPIO_InitStruct.Pin = I2S3_MCK_Pin|I2S3_SCK_Pin|I2S3_SD_Pin;
  GPIO_InitStruct.Mode = GPIO_MODE_AF_PP;
  GPIO_InitStruct.Pull = GPIO_NOPULL;
  GPIO_InitStruct.Speed = GPIO_SPEED_FREQ_LOW;
  GPIO_InitStruct.Alternate = GPIO_AF6_SPI3;
  HAL_GPIO_Init(GPIOC, &GPIO_InitStruct);

  /*Configure GPIO pin : OTG_FS_OverCurrent_Pin */
  GPIO_InitStruct.Pin = OTG_FS_OverCurrent_Pin;
  GPIO_InitStruct.Mode = GPIO_MODE_INPUT;
  GPIO_InitStruct.Pull = GPIO_NOPULL;
  HAL_GPIO_Init(OTG_FS_OverCurrent_GPIO_Port, &GPIO_InitStruct);

  /*Configure GPIO pin : MEMS_INT2_Pin */
  GPIO_InitStruct.Pin = MEMS_INT2_Pin;
  GPIO_InitStruct.Mode = GPIO_MODE_EVT_RISING;
  GPIO_InitStruct.Pull = GPIO_NOPULL;
  HAL_GPIO_Init(MEMS_INT2_GPIO_Port, &GPIO_InitStruct);

}

void Error_Handler(void)
{
}

/************************ (C) COPYRIGHT STMicroelectronics *****END OF FILE****/
